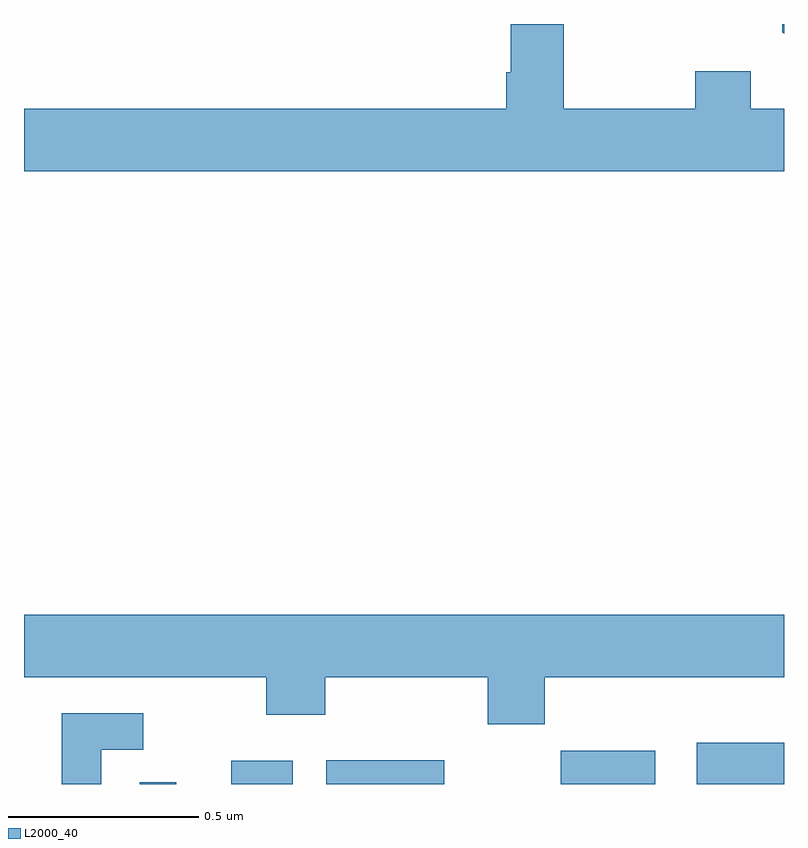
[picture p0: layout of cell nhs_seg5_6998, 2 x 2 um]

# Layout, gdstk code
import gdstk
lib = gdstk.Library(unit=1e-6, precision=1e-09)
def R(c, l, rs):  # rectangles x0, y0, x1, y1
    for r in rs: c.add(gdstk.rectangle(r[:2], r[2:], *l))
def P(c, l, *ps):  # polygons
    for p in ps: c.add(gdstk.Polygon(p, *l))
L2000_40 = (2000, 40)

nhs_seg5_6998 = lib.new_cell('nhs_seg5_6998')
R(nhs_seg5_6998, L2000_40, [(203.304,869.799,203.401,869.804), (203.546,869.799,203.707,869.86), (203.796,869.799,204.106,869.862), (204.412,869.799,204.661,869.887), (204.771,869.799,205,869.908)])
P(nhs_seg5_6998, L2000_40, [(205,871.576),(204.913,871.576),(204.913,871.675),(204.766,871.675),(204.766,871.576),(204.421,871.576),(204.421,871.799),(204.281,871.799),(204.281,871.672),(204.269,871.672),(204.269,871.576),(203,871.576),(203,871.412),(205,871.412)],
  [(205,871.799),(204.996,871.799),(204.996,871.777),(205,871.773)],
  [(204.371,870.08),(205,870.08),(205,870.244),(203,870.244),(203,870.08),(203.638,870.08),(203.638,869.981),(203.793,869.981),(203.793,870.08),(204.22,870.08),(204.22,869.956),(204.371,869.956)],
  [(203.203,869.889),(203.314,869.889),(203.314,869.985),(203.099,869.985),(203.099,869.799),(203.203,869.799)])

lib.write_gds('nhs_seg5_6998.gds')
